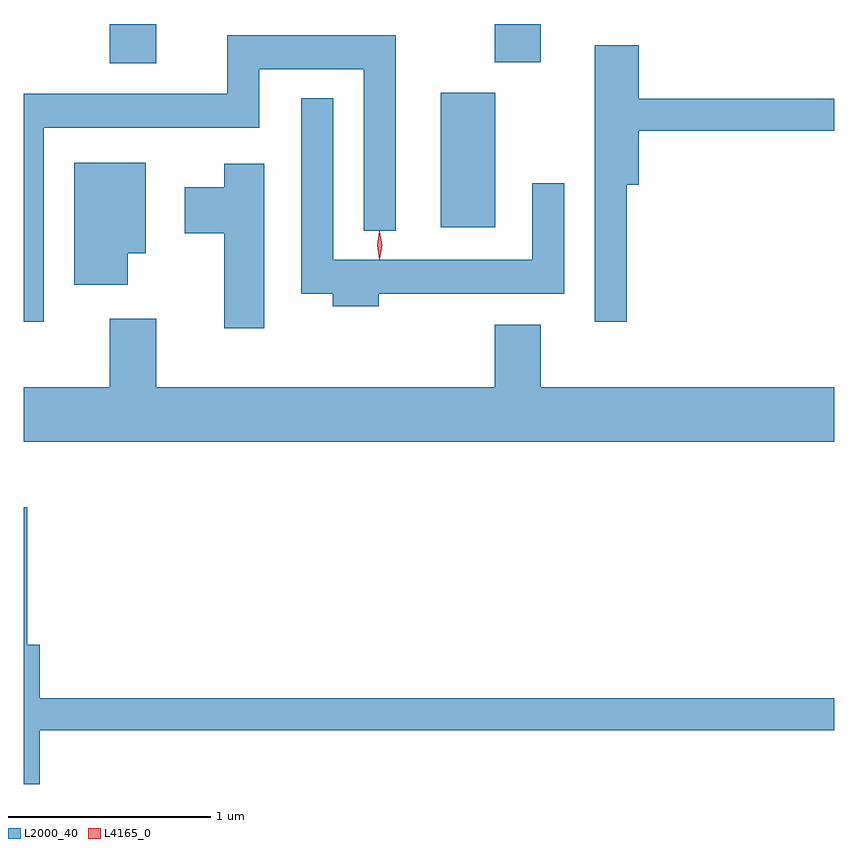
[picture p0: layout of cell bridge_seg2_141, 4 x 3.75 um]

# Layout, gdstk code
import gdstk
lib = gdstk.Library(unit=1e-6, precision=1e-09)
def R(c, l, rs):  # rectangles x0, y0, x1, y1
    for r in rs: c.add(gdstk.rectangle(r[:2], r[2:], *l))
def P(c, l, *ps):  # polygons
    for p in ps: c.add(gdstk.Polygon(p, *l))
L2000_40 = (2000, 40)
L4165_0 = (4165, 0)

bridge_seg2_141 = lib.new_cell('bridge_seg2_141')
R(bridge_seg2_141, L2000_40, [(1026.296,1104.876,1026.564,1105.539), (1024.661,1105.686,1024.889,1105.879), (1026.561,1105.691,1026.789,1105.879)])
P(bridge_seg2_141, L2000_40, [(1024.334,1105.366),(1025.399,1105.366),(1025.399,1105.656),(1025.916,1105.656),(1025.916,1104.858),(1026.074,1104.858),(1026.074,1105.824),(1025.241,1105.824),(1025.241,1105.534),(1024.237,1105.534),(1024.237,1104.408),(1024.334,1104.408)],
  [(1027.214,1105.086),(1027.274,1105.086),(1027.274,1105.351),(1028.237,1105.351),(1028.237,1105.509),(1027.274,1105.509),(1027.274,1105.774),(1027.056,1105.774),(1027.056,1104.408),(1027.214,1104.408)],
  [(1025.989,1104.546),(1026.904,1104.546),(1026.904,1105.093),(1026.746,1105.093),(1026.746,1104.714),(1025.764,1104.714),(1025.764,1105.513),(1025.606,1105.513),(1025.606,1104.546),(1025.761,1104.546),(1025.761,1104.486),(1025.989,1104.486)],
  [(1024.749,1104.746),(1024.839,1104.746),(1024.839,1105.194),(1024.486,1105.194),(1024.486,1104.591),(1024.749,1104.591)],
  [(1025.424,1105.189),(1025.226,1105.189),(1025.226,1105.074),(1025.031,1105.074),(1025.031,1104.846),(1025.226,1104.846),(1025.226,1104.376),(1025.424,1104.376)],
  [(1028.237,1104.084),(1026.789,1104.084),(1026.789,1104.394),(1026.561,1104.394),(1026.561,1104.084),(1024.889,1104.084),(1024.889,1104.424),(1024.661,1104.424),(1024.661,1104.084),(1024.237,1104.084),(1024.237,1103.816),(1028.237,1103.816)],
  [(1024.314,1102.391),(1028.237,1102.391),(1028.237,1102.549),(1024.314,1102.549),(1024.314,1102.814),(1024.254,1102.814),(1024.254,1103.493),(1024.237,1103.493),(1024.237,1102.126),(1024.314,1102.126)])
P(bridge_seg2_141, L4165_0, [(1025.992,1104.717),(1025.992,1104.717),(1025.982,1104.787),(1025.992,1104.856),(1025.992,1104.856),(1025.993,1104.856),(1026.002,1104.787),(1025.993,1104.717)],
  [(1025.995,1104.719),(1025.994,1104.72),(1025.985,1104.786),(1025.994,1104.852),(1025.995,1104.853),(1025.995,1104.852),(1026.005,1104.786),(1025.995,1104.72)])

lib.write_gds('bridge_seg2_141.gds')
